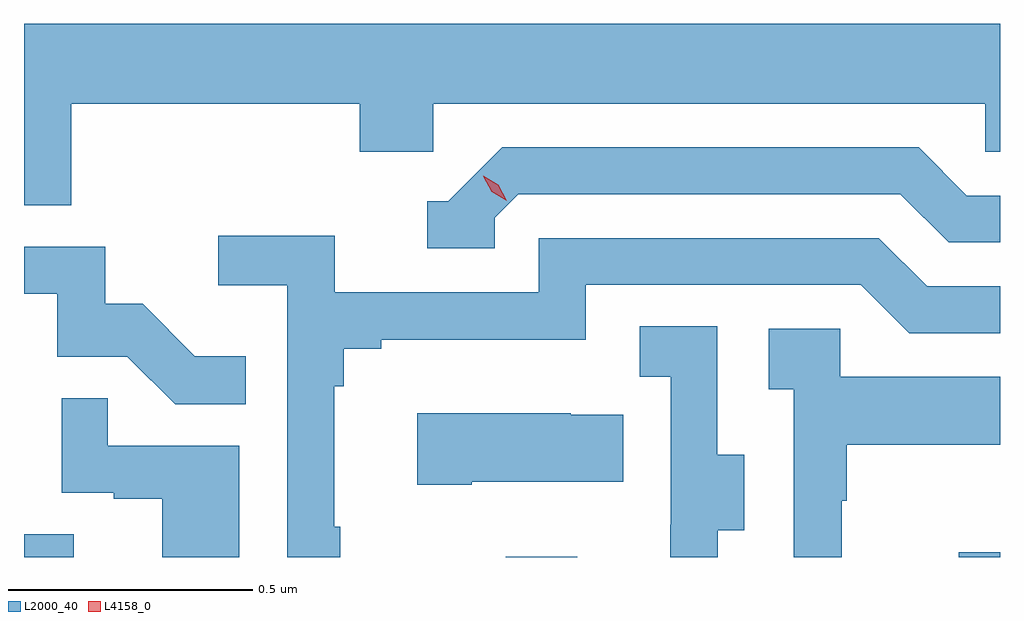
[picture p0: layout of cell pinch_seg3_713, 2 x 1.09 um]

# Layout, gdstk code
import gdstk
lib = gdstk.Library(unit=1e-6, precision=1e-09)
def R(c, l, rs):  # rectangles x0, y0, x1, y1
    for r in rs: c.add(gdstk.rectangle(r[:2], r[2:], *l))
def P(c, l, *ps):  # polygons
    for p in ps: c.add(gdstk.Polygon(p, *l))
L2000_40 = (2000, 40)
L4158_0 = (4158, 0)

pinch_seg3_713 = lib.new_cell('pinch_seg3_713')
R(pinch_seg3_713, L2000_40, [(1097.683,673.347,1097.785,673.394), (1098.67,673.347,1098.817,673.348), (1099.598,673.347,1099.683,673.357)])
P(pinch_seg3_713, L2000_40, [(1097.78,674.276),(1098.371,674.276),(1098.371,674.178),(1098.522,674.178),(1098.522,674.276),(1099.653,674.276),(1099.653,674.178),(1099.683,674.178),(1099.683,674.44),(1097.683,674.44),(1097.683,674.068),(1097.78,674.068)],
  [(1098.648,674.043),(1098.696,674.091),(1099.479,674.091),(1099.578,673.992),(1099.683,673.992),(1099.683,674.088),(1099.615,674.088),(1099.516,674.187),(1098.663,674.187),(1098.552,674.076),(1098.509,674.076),(1098.509,673.98),(1098.648,673.98)],
  [(1098.331,673.409),(1098.319,673.409),(1098.319,673.697),(1098.338,673.697),(1098.338,673.774),(1098.415,673.774),(1098.415,673.793),(1098.834,673.793),(1098.834,673.905),(1099.398,673.905),(1099.497,673.806),(1099.683,673.806),(1099.683,673.902),(1099.534,673.902),(1099.435,674.001),(1098.738,674.001),(1098.738,673.89),(1098.32,673.89),(1098.32,674.006),(1098.081,674.006),(1098.081,673.904),(1098.222,673.904),(1098.222,673.347),(1098.331,673.347)],
  [(1098.137,673.759),(1098.033,673.759),(1097.926,673.866),(1097.85,673.866),(1097.85,673.983),(1097.683,673.983),(1097.683,673.887),(1097.751,673.887),(1097.751,673.758),(1097.895,673.758),(1097.993,673.66),(1098.137,673.66)],
  [(1099.105,673.402),(1099.159,673.402),(1099.159,673.557),(1099.104,673.557),(1099.104,673.82),(1098.945,673.82),(1098.945,673.717),(1099.008,673.717),(1099.008,673.413),(1099.007,673.413),(1099.007,673.347),(1099.105,673.347)],
  [(1099.359,673.463),(1099.369,673.463),(1099.369,673.577),(1099.683,673.577),(1099.683,673.717),(1099.356,673.717),(1099.356,673.815),(1099.209,673.815),(1099.209,673.691),(1099.26,673.691),(1099.26,673.347),(1099.359,673.347)],
  [(1098.124,673.575),(1097.855,673.575),(1097.855,673.673),(1097.76,673.673),(1097.76,673.479),(1097.867,673.479),(1097.867,673.467),(1097.966,673.467),(1097.966,673.347),(1098.124,673.347)],
  [(1098.601,673.502),(1098.911,673.502),(1098.911,673.639),(1098.803,673.639),(1098.803,673.642),(1098.489,673.642),(1098.489,673.495),(1098.601,673.495)])
P(pinch_seg3_713, L4158_0, [(1098.672,674.077),(1098.641,674.096),(1098.624,674.128),(1098.624,674.129),(1098.624,674.129),(1098.655,674.11),(1098.672,674.077),(1098.672,674.077)])

lib.write_gds('pinch_seg3_713.gds')
